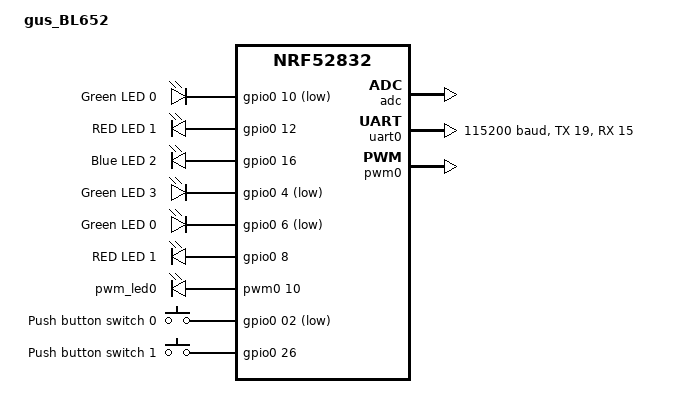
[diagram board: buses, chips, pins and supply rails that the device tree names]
/*
 * Copyright (c) 2019 Laird Connectivity
 *
 * SPDX-License-Identifier: Apache-2.0
 */

/dts-v1/;
#include <nordic/nrf52832_qfaa.dtsi>

/ {
	model = "gus_BL652";
	compatible = "laird,BL652DVK";

	chosen {
		zephyr,console = &uart0;
		zephyr,shell-uart = &uart0;
		zephyr,uart-mcumgr = &uart0;
		zephyr,bt-mon-uart = &uart0;
		zephyr,bt-c2h-uart = &uart0;
		zephyr,sram = &sram0;
		zephyr,flash = &flash0;
		zephyr,code-partition = &slot0_partition;
	};

	leds {
		compatible = "gpio-leds";
		
		led0: led_0 {
			gpios = <&gpio0 10 GPIO_ACTIVE_LOW>;
			label = "Green LED 0";
		};			   
		led1: led_1 {
			gpios = <&gpio0 12 GPIO_ACTIVE_HIGH>;
			label = "RED LED 1";
		};
		led2: led_2 {
			gpios = <&gpio0 16 GPIO_ACTIVE_HIGH>;
			label = "Blue LED 2";
		};
		led3: led_3 {
			gpios = <&gpio0 4 GPIO_ACTIVE_LOW>;
			label = "Green LED 3";
		};	
	
		led4: led_4 {
			gpios = <&gpio0 6 GPIO_ACTIVE_LOW>;
			label = "Green LED 0";
		};			   
		led5: led_5 {
			gpios = <&gpio0 8 GPIO_ACTIVE_HIGH>;
			label = "RED LED 1";
		};
	};

	pwmleds {
		compatible = "pwm-leds";
		pwm_led0: pwm_led_0 {
			pwms = <&pwm0 10>;
		};
	};

	buttons {
		compatible = "gpio-keys";
		button0: button_0 {
			gpios = <&gpio0 02 (GPIO_PULL_UP | GPIO_ACTIVE_LOW)>;
			label = "Push button switch 0";
		};
		button1: button_1 {
			gpios = <&gpio0 26 GPIO_PULL_UP>;
			label = "Push button switch 1";
		};
	};

	/* These aliases are provided for compatibility with samples */
	aliases {
		led0 = &led0;
		led1 = &led1;
		led2 = &led2;
		led3 = &led3;
		led4 = &led4;
		led5 = &led5;
		pwm-led0 = &pwm_led0;
		sw0 = &button0;
		sw1 = &button1;
	};
};

&adc {
	status = "okay";
};

&gpiote {
	status = "okay";
};

&gpio0 {
	status = "okay";
};

&uart0 {
	status = "okay";
	compatible = "nordic,nrf-uart";
	current-speed = <115200>;
	tx-pin = <19>;
	rx-pin = <15>;
	rts-pin = <28>;
	cts-pin = <30>;
};

&pwm0 {
	status = "okay";
	ch0-pin = <17>;
};


&flash0 {

	partitions {
		compatible = "fixed-partitions";
		#address-cells = <1>;
		#size-cells = <1>;

		boot_partition: partition@0 {
			label = "mcuboot";
			reg = <0x00000000 0xc000>;
		};
		slot0_partition: partition@c000 {
			label = "image-0";
			reg = <0x0000C000 0x32000>;
		};
		slot1_partition: partition@3e000 {
			label = "image-1";
			reg = <0x0003E000 0x32000>;
		};
		scratch_partition: partition@70000 {
			label = "image-scratch";
			reg = <0x00070000 0xa000>;
		};
		storage_partition: partition@7a000 {
			label = "storage";
			reg = <0x0007a000 0x00006000>;
		};
	};
};
